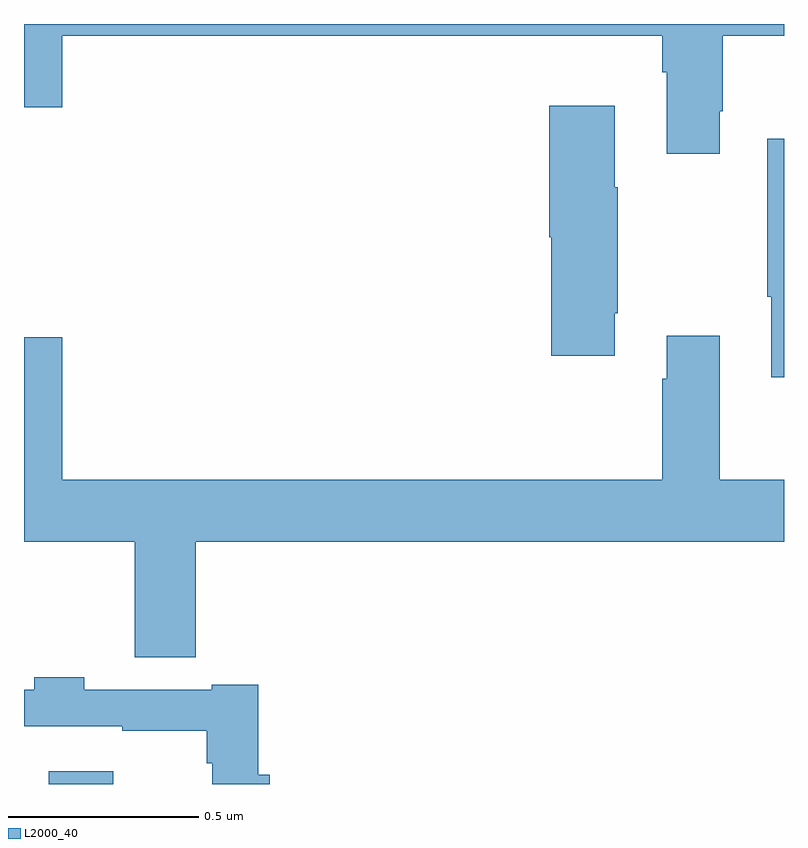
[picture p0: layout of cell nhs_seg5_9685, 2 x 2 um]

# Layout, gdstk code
import gdstk
lib = gdstk.Library(unit=1e-6, precision=1e-09)
def R(c, l, rs):  # rectangles x0, y0, x1, y1
    for r in rs: c.add(gdstk.rectangle(r[:2], r[2:], *l))
def P(c, l, *ps):  # polygons
    for p in ps: c.add(gdstk.Polygon(p, *l))
L2000_40 = (2000, 40)

nhs_seg5_9685 = lib.new_cell('nhs_seg5_9685')
R(nhs_seg5_9685, L2000_40, [(237.065,846.799,237.235,846.832)])
P(nhs_seg5_9685, L2000_40, [(238.831,848.569),(238.839,848.569),(238.839,848.768),(239,848.768),(239,848.799),(237,848.799),(237,848.58),(237.1,848.58),(237.1,848.768),(238.679,848.768),(238.679,848.672),(238.691,848.672),(238.691,848.457),(238.831,848.457)],
  [(238.555,848.038),(238.563,848.038),(238.563,848.369),(238.555,848.369),(238.555,848.584),(238.382,848.584),(238.382,848.238),(238.388,848.238),(238.388,847.926),(238.555,847.926)],
  [(239,848.497),(238.956,848.497),(238.956,848.081),(238.967,848.081),(238.967,847.869),(239,847.869)],
  [(237.452,847.436),(239,847.436),(239,847.6),(238.831,847.6),(238.831,847.978),(238.691,847.978),(238.691,847.865),(238.679,847.865),(238.679,847.6),(237.1,847.6),(237.1,847.975),(237,847.975),(237,847.436),(237.292,847.436),(237.292,847.132),(237.452,847.132)],
  [(237.647,846.823),(237.617,846.823),(237.617,847.06),(237.494,847.06),(237.494,847.047),(237.159,847.047),(237.159,847.08),(237.027,847.08),(237.027,847.047),(237,847.047),(237,846.951),(237.259,846.951),(237.259,846.939),(237.481,846.939),(237.481,846.854),(237.496,846.854),(237.496,846.799),(237.647,846.799)])

lib.write_gds('nhs_seg5_9685.gds')
